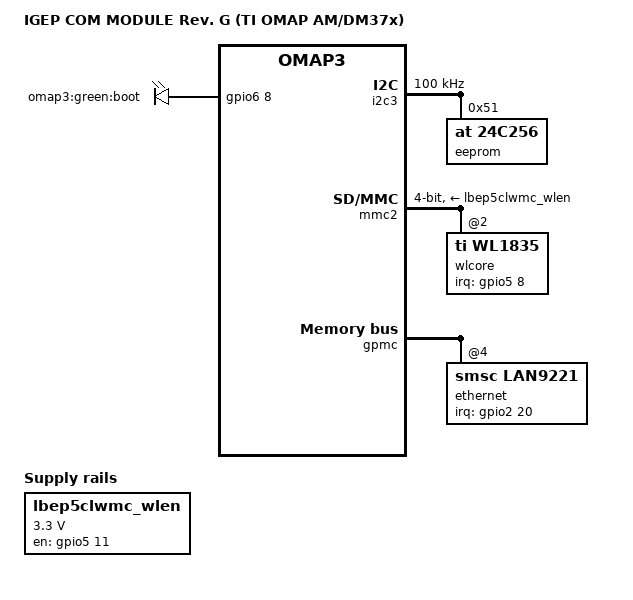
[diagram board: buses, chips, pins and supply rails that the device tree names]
/*
 * Device Tree Source for IGEP COM MODULE Rev. G (TI OMAP AM/DM37x)
 *
 * Copyright (C) 2014 Javier Martinez Canillas <javier@osg.samsung.com>
 * Copyright (C) 2014 Enric Balletbo i Serra <eballetbo@gmail.com>
 *
 * This program is free software; you can redistribute it and/or modify
 * it under the terms of the GNU General Public License version 2 as
 * published by the Free Software Foundation.
 */

#include "omap3-igep0030-common.dtsi"
#include "omap-gpmc-smsc9221.dtsi"


/ {
	model = "IGEP COM MODULE Rev. G (TI OMAP AM/DM37x)";
	compatible = "isee,omap3-igep0030-rev-g", "ti,omap36xx", "ti,omap3";

	/* Regulator to trigger the WL_EN signal of the Wifi module */
	lbep5clwmc_wlen: regulator-lbep5clwmc-wlen {
		compatible = "regulator-fixed";
		regulator-name = "regulator-lbep5clwmc-wlen";
		regulator-min-microvolt = <3300000>;
		regulator-max-microvolt = <3300000>;
		gpio = <&gpio5 11 GPIO_ACTIVE_HIGH>;		/* gpio_139 - WL_EN */
		enable-active-high;
	};
};

&omap3_pmx_core {
	lbep5clwmc_pins: pinmux_lbep5clwmc_pins {
		pinctrl-single,pins = <
			OMAP3_CORE1_IOPAD(0x2164, PIN_INPUT | MUX_MODE4)	/* sdmmc2_dat4.gpio_136 - W_IRQ */
			OMAP3_CORE1_IOPAD(0x2166, PIN_OUTPUT | MUX_MODE4)	/* sdmmc2_dat5.gpio_137 - BT_EN */
			OMAP3_CORE1_IOPAD(0x216a, PIN_OUTPUT | MUX_MODE4)	/* sdmmc2_dat7.gpio_139 - WL_EN */
		>;
	};

	leds_pins: pinmux_leds_pins {
		pinctrl-single,pins = <
			OMAP3_CORE1_IOPAD(0x21be, PIN_OUTPUT | MUX_MODE4)	/* i2c2_scl.gpio_168 */
		>;
	};

	smsc9221_pins: pinmux_smsc9221_pins {
		pinctrl-single,pins = <
			OMAP3_CORE1_IOPAD(0x21b0, PIN_INPUT | MUX_MODE4)	/* mcspi1_cs2.gpio_176 */
		>;
	};

};

&i2c2 {
	status = "disabled";
};

&i2c3 {
	clock-frequency = <100000>;

	/*
	 * Display monitor features are burnt in the EEPROM
	 * as EDID data.
	 */
	eeprom@51 {
		compatible = "at,24c256";
		reg = <0x51>;
	};
};

&leds {
	pinctrl-names = "default";
	pinctrl-0 = <&leds_pins &leds_core2_pins>;

	boot {
		label = "omap3:green:boot";
		gpios = <&gpio6 8 GPIO_ACTIVE_HIGH>;
		default-state = "on";
	};
};

&mmc2 {
	pinctrl-names = "default";
	pinctrl-0 = <&mmc2_pins &lbep5clwmc_pins>;
	vmmc-supply = <&lbep5clwmc_wlen>;
	bus-width = <4>;
	ti,non-removable;
	ti,needs-special-hs-handling;
	cap-power-off-card;
	keep-power-in-suspend;
	#dma-cells = <2>;
	#address-cells = <1>;
	#size-cells = <0>;
	wlcore: wlcore@2 {
		compatible = "ti,wl1835";
		reg = <2>;
		interrupt-parent = <&gpio5>;
		interrupts = <8 IRQ_TYPE_LEVEL_HIGH>; /* gpio 136 */
	};
};

&gpmc {
	ranges =  <4 0 0x2b000000 0x01000000>,	/* CS4: 16MB for ethernet */
			<0 0 0x30000000 0x01000000>;	/* CS0: 16MB for NAND */
	ethernet@gpmc {
		compatible = "smsc,lan9221","smsc,lan9115";
		pinctrl-names = "default";
		pinctrl-0 = <&smsc9221_pins>;
		reg = <4 0 0xff>;
		interrupt-parent = <&gpio2>;
		interrupts = <20 IRQ_TYPE_LEVEL_LOW>;
	};
};
